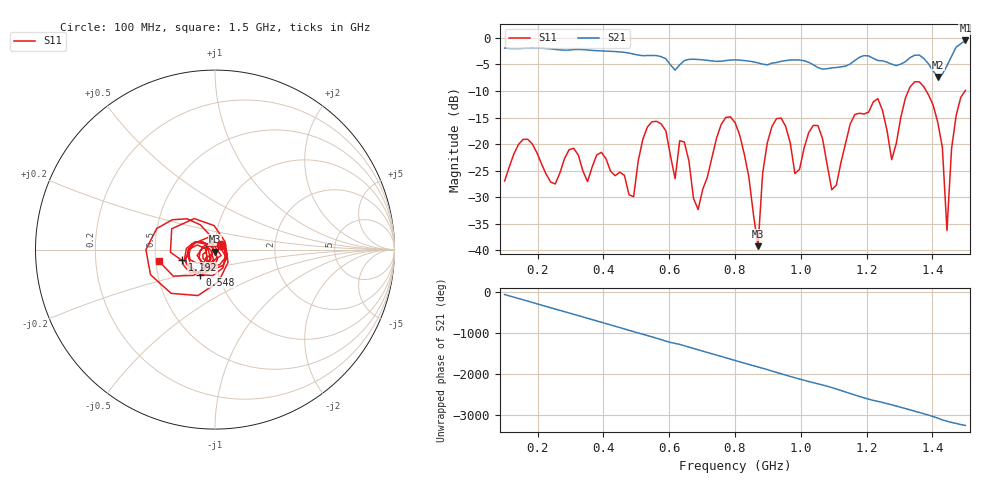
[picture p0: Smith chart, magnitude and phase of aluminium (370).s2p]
! NanoVNA-App
! Date: 2025-09-25 14:58:09
! Start: 100MHz Stop: 1,5GHz Points: 101
! S-Parameter data: F S11 S21 S12 S22
# Hz S RI R 50
!  Frequency  S11_Real  S11_Imag  S21_Real  S21_Imag  S12_Real  S12_Imag  S22_Real  S22_Imag
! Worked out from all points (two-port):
!   101 points, 100 MHz to 1.5 GHz, reference 50 ohm
!   highest |S21| = -0.50 dB at 1.5 GHz (marker M1); lowest = -7.4 dB at 1.416 GHz (marker M2)
!   |S21| within 3 dB of the highest: start of sweep to 572.1 MHz; 1.458 GHz to end of sweep (the widest 2 of 4)
!   lowest |S11| = -39.2 dB at 870 MHz (marker M3), VSWR 1.02, Z = 50.2 - j1.08 ohm
!   |S11| at or under -10 dB: start of sweep to 1.327 GHz; 1.381 GHz to 1.499 GHz (117.8 MHz wide, 8.18 % of centre)
!   S12 and S22 are empty: the file has one direction only
!   S11 on the Smith chart (normalised r, x): 100 MHz: 1.07, +0.06; 548 MHz: 0.82, -0.23; 1.192 GHz: 0.69, -0.08; 1.5 GHz: 0.52, -0.07
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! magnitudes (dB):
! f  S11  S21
! 100 MHz  -27.0  -1.9
! 156 MHz  -19.1  -2.0
! 338 MHz  -25.1  -2.2
! 492 MHz  -29.9  -3.1
! 548 MHz  -15.8  -3.3
! 576 MHz  -16.2  -3.6
! 646 MHz  -19.6  -4.3
! 688 MHz  -32.3  -4.1
! 800 MHz  -15.9  -4.2
! 870 MHz  -39.2  -4.7
! 912 MHz  -16.7  -4.8
! 982 MHz  -25.5  -4.2
! 1.038 GHz  -16.5  -5.1
! 1.094 GHz  -28.6  -5.7
! 1.192 GHz  -14.3  -3.4
! 1.234 GHz  -11.4  -4.3
! 1.276 GHz  -22.9  -5.0
! 1.346 GHz  -8.3  -3.3
! 1.416 GHz  -15.9  -7.4
! 1.444 GHz  -36.3  -5.3
! 1.458 GHz  -20.8  -3.5
! 1.5 GHz  -9.9  -0.5
